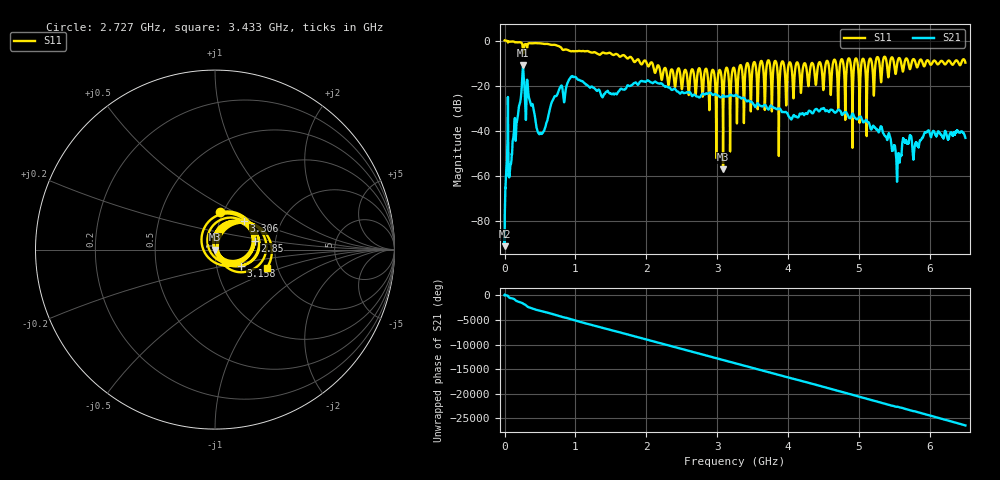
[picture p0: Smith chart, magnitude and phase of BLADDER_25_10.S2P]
!Keysight Technologies,E5063A,MY54503115,A.05.08
!Date: Sun Feb 04 18:31:32 2024
!Data & Calibration Information:
!Freq	S11:NONE(--)	S21:NONE(--)	S12:NONE(--)	S22:NONE(--)
# Hz S dB R 50
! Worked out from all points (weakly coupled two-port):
!   10001 points, 100 kHz to 6.5 GHz, reference 50 ohm
!   highest |S21| = -10.97 dB at 259.4 MHz (marker M1); lowest = -91.0 dB at 750 kHz (marker M2)
!   lowest |S11| = -56.9 dB at 3.082 GHz (marker M3), VSWR 1.00, Z = 49.9 - j0.0521 ohm
!   |S11| at or under -10 dB: 2.084 GHz to 3.422 GHz (1.338 GHz wide, 48.6 % of centre); 4.137 GHz to 4.332 GHz (195.1 MHz wide, 4.61 % of centre); 4.343 GHz to 4.432 GHz (88.24 MHz wide, 2.01 % of centre) (the widest 3 of 32)
!   S12 and S22 are empty: the file has one direction only
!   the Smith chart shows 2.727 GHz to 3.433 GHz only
!   S11 on the Smith chart (normalised r, x): 2.727 GHz: 0.97, +0.42; 2.85 GHz: 1.56, +0.16; 3.158 GHz: 1.31, -0.25; 3.306 GHz: 1.30, +0.44; 3.433 GHz: 1.75, -0.40
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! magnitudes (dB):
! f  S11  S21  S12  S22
! 100 kHz  0.0  -87.6  -  -
! 750 kHz  0.0  -91.0  -  -
! 37.8 MHz  -0.2  -47.0  -  -
! 87.85 MHz  -0.5  -54.6  -  -
! 259.4 MHz  -5.4  -11.0  -  -
! 507.7 MHz  -1.2  -41.3  -  -
! 781.4 MHz  -2.7  -20.8  -  -
! 1.084 GHz  -4.7  -18.0  -  -
! 2.167 GHz  -11.0  -18.9  -  -
! 2.727 GHz  -13.6  -24.8  -  -
! 2.85 GHz  -12.9  -23.4  -  -
! 3.082 GHz  -56.9  -24.2  -  -
! 3.158 GHz  -15.4  -24.6  -  -
! 3.25 GHz  -13.9  -24.3  -  -
! 3.306 GHz  -12.9  -24.9  -  -
! 3.433 GHz  -10.3  -26.6  -  -
! 4.334 GHz  -10.0  -32.1  -  -
! 5.417 GHz  -15.7  -41.2  -  -
! 5.554 GHz  -8.1  -50.2  -  -
! 5.638 GHz  -10.4  -44.8  -  -
! 5.956 GHz  -8.9  -40.5  -  -
! 6.5 GHz  -9.8  -43.1  -  -
